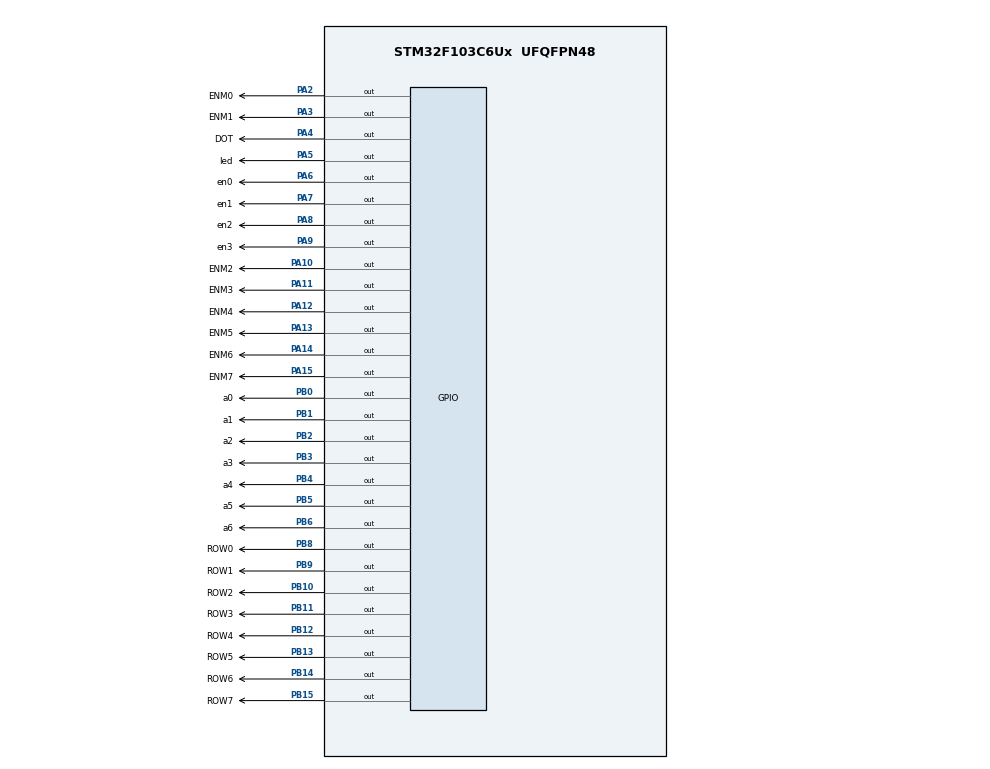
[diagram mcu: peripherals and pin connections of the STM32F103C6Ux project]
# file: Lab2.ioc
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Mcu.Family=STM32F1
Mcu.Name=STM32F103C6Ux
Mcu.Package=UFQFPN48
NVIC.PriorityGroup=NVIC_PRIORITYGROUP_4
NVIC.TIM2_IRQn=true\:0\:0\:false\:false\:true\:true\:true
PA10.GPIO_Label=ENM2
PA10.Signal=GPIO_Output
PA11.GPIO_Label=ENM3
PA11.Signal=GPIO_Output
PA12.GPIO_Label=ENM4
PA12.Signal=GPIO_Output
PA13.GPIO_Label=ENM5
PA13.Signal=GPIO_Output
PA14.GPIO_Label=ENM6
PA14.Signal=GPIO_Output
PA15.GPIO_Label=ENM7
PA15.Signal=GPIO_Output
PA2.GPIO_Label=ENM0
PA2.Signal=GPIO_Output
PA3.GPIO_Label=ENM1
PA3.Signal=GPIO_Output
PA4.GPIO_Label=DOT
PA4.Signal=GPIO_Output
PA5.GPIO_Label=led
PA5.Signal=GPIO_Output
PA6.GPIO_Label=en0
PA6.Signal=GPIO_Output
PA7.GPIO_Label=en1
PA7.Signal=GPIO_Output
PA8.GPIO_Label=en2
PA8.Signal=GPIO_Output
PA9.GPIO_Label=en3
PA9.Signal=GPIO_Output
PB0.GPIO_Label=a0
PB0.Signal=GPIO_Output
PB1.GPIO_Label=a1
PB1.Signal=GPIO_Output
PB10.GPIO_Label=ROW2
PB10.Signal=GPIO_Output
PB11.GPIO_Label=ROW3
PB11.Signal=GPIO_Output
PB12.GPIO_Label=ROW4
PB12.Signal=GPIO_Output
PB13.GPIO_Label=ROW5
PB13.Signal=GPIO_Output
PB14.GPIO_Label=ROW6
PB14.Signal=GPIO_Output
PB15.GPIO_Label=ROW7
PB15.Signal=GPIO_Output
PB2.GPIO_Label=a2
PB2.Signal=GPIO_Output
PB3.GPIO_Label=a3
PB3.Signal=GPIO_Output
PB4.GPIO_Label=a4
PB4.Signal=GPIO_Output
PB5.GPIO_Label=a5
PB5.Signal=GPIO_Output
PB6.GPIO_Label=a6
PB6.Signal=GPIO_Output
PB8.GPIO_Label=ROW0
PB8.Signal=GPIO_Output
PB9.GPIO_Label=ROW1
PB9.Signal=GPIO_Output
ProjectManager.HeapSize=0x200
ProjectManager.StackSize=0x400
ProjectManager.TargetToolchain=STM32CubeIDE
RCC.APB1Freq_Value=8000000
RCC.APB2Freq_Value=8000000
TIM2.Period=9
TIM2.Prescaler=799
VP_SYS_VS_ND.Mode=No_Debug
VP_TIM2_VS_ClockSourceINT.Mode=Internal
board=custom

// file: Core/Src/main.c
/* USER CODE BEGIN Header */
/* USER CODE END Header */
#include "main.h"

TIM_HandleTypeDef htim2;

void SystemClock_Config(void);
static void MX_GPIO_Init(void);
static void MX_TIM2_Init(void);

/* USER CODE BEGIN 0 */

const int MAX_LED_MATRIX = 8;
int index_matrix = 0;
uint8_t matrix_buffer[8] = {
    0x18,  // 00011000  →  ___XX___
    0x24,  // 00100100  →  __X__X__
    0x42,  // 01000010  →  _X____X_
    0x42,  // 01000010  →  _X____X_
    0x7E,  // 01111110  →  _XXXXXX_
    0x42,  // 01000010  →  _X____X_
    0x42,  // 01000010  →  _X____X_
    0x00   // 00000000  →  ________
};

void setRow(int row) {
    HAL_GPIO_WritePin(GPIOB, ROW0_Pin, (row == 0) ? GPIO_PIN_SET : GPIO_PIN_RESET);
    HAL_GPIO_WritePin(GPIOB, ROW1_Pin, (row == 1) ? GPIO_PIN_SET : GPIO_PIN_RESET);
    HAL_GPIO_WritePin(GPIOB, ROW2_Pin, (row == 2) ? GPIO_PIN_SET : GPIO_PIN_RESET);
    HAL_GPIO_WritePin(GPIOB, ROW3_Pin, (row == 3) ? GPIO_PIN_SET : GPIO_PIN_RESET);
    HAL_GPIO_WritePin(GPIOB, ROW4_Pin, (row == 4) ? GPIO_PIN_SET : GPIO_PIN_RESET);
    HAL_GPIO_WritePin(GPIOB, ROW5_Pin, (row == 5) ? GPIO_PIN_SET : GPIO_PIN_RESET);
    HAL_GPIO_WritePin(GPIOB, ROW6_Pin, (row == 6) ? GPIO_PIN_SET : GPIO_PIN_RESET);
    HAL_GPIO_WritePin(GPIOB, ROW7_Pin, (row == 7) ? GPIO_PIN_SET : GPIO_PIN_RESET);
}

void setColumn(int value) {
    HAL_GPIO_WritePin(GPIOA, ENM0_Pin, (value & 0x01) ? GPIO_PIN_SET : GPIO_PIN_RESET);
    HAL_GPIO_WritePin(GPIOA, ENM1_Pin, (value & 0x02) ? GPIO_PIN_SET : GPIO_PIN_RESET);
    HAL_GPIO_WritePin(GPIOA, ENM2_Pin, (value & 0x04) ? GPIO_PIN_SET : GPIO_PIN_RESET);
    HAL_GPIO_WritePin(GPIOA, ENM3_Pin, (value & 0x08) ? GPIO_PIN_SET : GPIO_PIN_RESET);
    HAL_GPIO_WritePin(GPIOA, ENM4_Pin, (value & 0x10) ? GPIO_PIN_SET : GPIO_PIN_RESET);
    HAL_GPIO_WritePin(GPIOA, ENM5_Pin, (value & 0x20) ? GPIO_PIN_SET : GPIO_PIN_RESET);
    HAL_GPIO_WritePin(GPIOA, ENM6_Pin, (value & 0x40) ? GPIO_PIN_SET : GPIO_PIN_RESET);
    HAL_GPIO_WritePin(GPIOA, ENM7_Pin, (value & 0x80) ? GPIO_PIN_SET : GPIO_PIN_RESET);
}

void updateLEDMatrix(int index) {
    setRow(index);
    setColumn(matrix_buffer[index]);
}

void shiftLeft(uint8_t matrix_buffer[8]) {
    for (int i = 0; i < 8; i++) {
        uint8_t leftBit = (matrix_buffer[i] & 0x80) >> 7;
        matrix_buffer[i] = (matrix_buffer[i] << 1) | leftBit;
    }
}
/* USER CODE END 0 */

int main(void)
{
    /* MCU Configuration */
    HAL_Init();
    SystemClock_Config();
    MX_GPIO_Init();
    MX_TIM2_Init();

    HAL_TIM_Base_Start_IT(&htim2);

    /* Infinite loop */
    while (1)
    {

	////////////////////////////////////
//    	updateLEDMatrix(index_matrix);
//		                        index_matrix++;
//		                        HAL_Delay(1);
//		                                if (index_matrix >= 8) {
//		                                           index_matrix = 0;
//		                                }
//    }
//}

  	/////////////////////////////////////////////////
    	    	updateLEDMatrix(index_matrix);
    			                        index_matrix++;
    			                        HAL_Delay(5);
    			                                if (index_matrix >= 8) {
    			                                	     shiftLeft(matrix_buffer);

    			                                           index_matrix = 0;
    			                                       }
    }
}

void SystemClock_Config(void)
{
  RCC_OscInitTypeDef RCC_OscInitStruct = {0};
  RCC_ClkInitTypeDef RCC_ClkInitStruct = {0};

  /** Initializes the RCC Oscillators according to the specified parameters
  * in the RCC_OscInitTypeDef structure.
  */
  RCC_OscInitStruct.OscillatorType = RCC_OSCILLATORTYPE_HSI;
  RCC_OscInitStruct.HSIState = RCC_HSI_ON;
  RCC_OscInitStruct.HSICalibrationValue = RCC_HSICALIBRATION_DEFAULT;
  RCC_OscInitStruct.PLL.PLLState = RCC_PLL_NONE;
  if (HAL_RCC_OscConfig(&RCC_OscInitStruct) != HAL_OK)
  {
    Error_Handler();
  }
  /** Initializes the CPU, AHB and APB buses clocks
  */
  RCC_ClkInitStruct.ClockType = RCC_CLOCKTYPE_HCLK|RCC_CLOCKTYPE_SYSCLK
                              |RCC_CLOCKTYPE_PCLK1|RCC_CLOCKTYPE_PCLK2;
  RCC_ClkInitStruct.SYSCLKSource = RCC_SYSCLKSOURCE_HSI;
  RCC_ClkInitStruct.AHBCLKDivider = RCC_SYSCLK_DIV1;
  RCC_ClkInitStruct.APB1CLKDivider = RCC_HCLK_DIV1;
  RCC_ClkInitStruct.APB2CLKDivider = RCC_HCLK_DIV1;

  if (HAL_RCC_ClockConfig(&RCC_ClkInitStruct, FLASH_LATENCY_0) != HAL_OK)
  {
    Error_Handler();
  }
}

static void MX_TIM2_Init(void)
{

  TIM_ClockConfigTypeDef sClockSourceConfig = {0};
  TIM_MasterConfigTypeDef sMasterConfig = {0};

  htim2.Instance = TIM2;
  htim2.Init.Prescaler = 7999;
  htim2.Init.CounterMode = TIM_COUNTERMODE_UP;
  htim2.Init.Period = 9;
  htim2.Init.ClockDivision = TIM_CLOCKDIVISION_DIV1;
  htim2.Init.AutoReloadPreload = TIM_AUTORELOAD_PRELOAD_DISABLE;
  if (HAL_TIM_Base_Init(&htim2) != HAL_OK)
  {
    Error_Handler();
  }
  sClockSourceConfig.ClockSource = TIM_CLOCKSOURCE_INTERNAL;
  if (HAL_TIM_ConfigClockSource(&htim2, &sClockSourceConfig) != HAL_OK)
  {
    Error_Handler();
  }
  sMasterConfig.MasterOutputTrigger = TIM_TRGO_RESET;
  sMasterConfig.MasterSlaveMode = TIM_MASTERSLAVEMODE_DISABLE;
  if (HAL_TIMEx_MasterConfigSynchronization(&htim2, &sMasterConfig) != HAL_OK)
  {
    Error_Handler();
  }

}

static void MX_GPIO_Init(void)
{
    GPIO_InitTypeDef GPIO_InitStruct = {0};

    /* GPIO Ports Clock Enable */
    __HAL_RCC_GPIOA_CLK_ENABLE();
    __HAL_RCC_GPIOB_CLK_ENABLE();

    /*Configure GPIO pin Output Level cho LED Matrix*/
    // ROW pins (GPIOB)
    HAL_GPIO_WritePin(GPIOB, ROW0_Pin|ROW1_Pin|ROW2_Pin|ROW3_Pin|
                             ROW4_Pin|ROW5_Pin|ROW6_Pin|ROW7_Pin, GPIO_PIN_RESET);

    // ENM pins (GPIOA)
    HAL_GPIO_WritePin(GPIOA, ENM0_Pin|ENM1_Pin|ENM2_Pin|ENM3_Pin|
                             ENM4_Pin|ENM5_Pin|ENM6_Pin|ENM7_Pin, GPIO_PIN_RESET);

    /*Configure ROW pins : ROW0_Pin ROW1_Pin ... ROW7_Pin */
    GPIO_InitStruct.Pin = ROW0_Pin|ROW1_Pin|ROW2_Pin|ROW3_Pin|
                          ROW4_Pin|ROW5_Pin|ROW6_Pin|ROW7_Pin;
    GPIO_InitStruct.Mode = GPIO_MODE_OUTPUT_PP;
    GPIO_InitStruct.Pull = GPIO_NOPULL;
    GPIO_InitStruct.Speed = GPIO_SPEED_FREQ_LOW;
    HAL_GPIO_Init(GPIOB, &GPIO_InitStruct);

    /*Configure ENM pins : ENM0_Pin ENM1_Pin ... ENM7_Pin */
    GPIO_InitStruct.Pin = ENM0_Pin|ENM1_Pin|ENM2_Pin|ENM3_Pin|
                          ENM4_Pin|ENM5_Pin|ENM6_Pin|ENM7_Pin;
    GPIO_InitStruct.Mode = GPIO_MODE_OUTPUT_PP;
    GPIO_InitStruct.Pull = GPIO_NOPULL;
    GPIO_InitStruct.Speed = GPIO_SPEED_FREQ_LOW;
    HAL_GPIO_Init(GPIOA, &GPIO_InitStruct);
}

/* USER CODE BEGIN 4 */
void HAL_TIM_PeriodElapsedCallback(TIM_HandleTypeDef *htim) {

/* USER CODE END 4 */
}
void Error_Handler(void)
{
}

/************************ (C) COPYRIGHT STMicroelectronics *****END OF FILE****/
